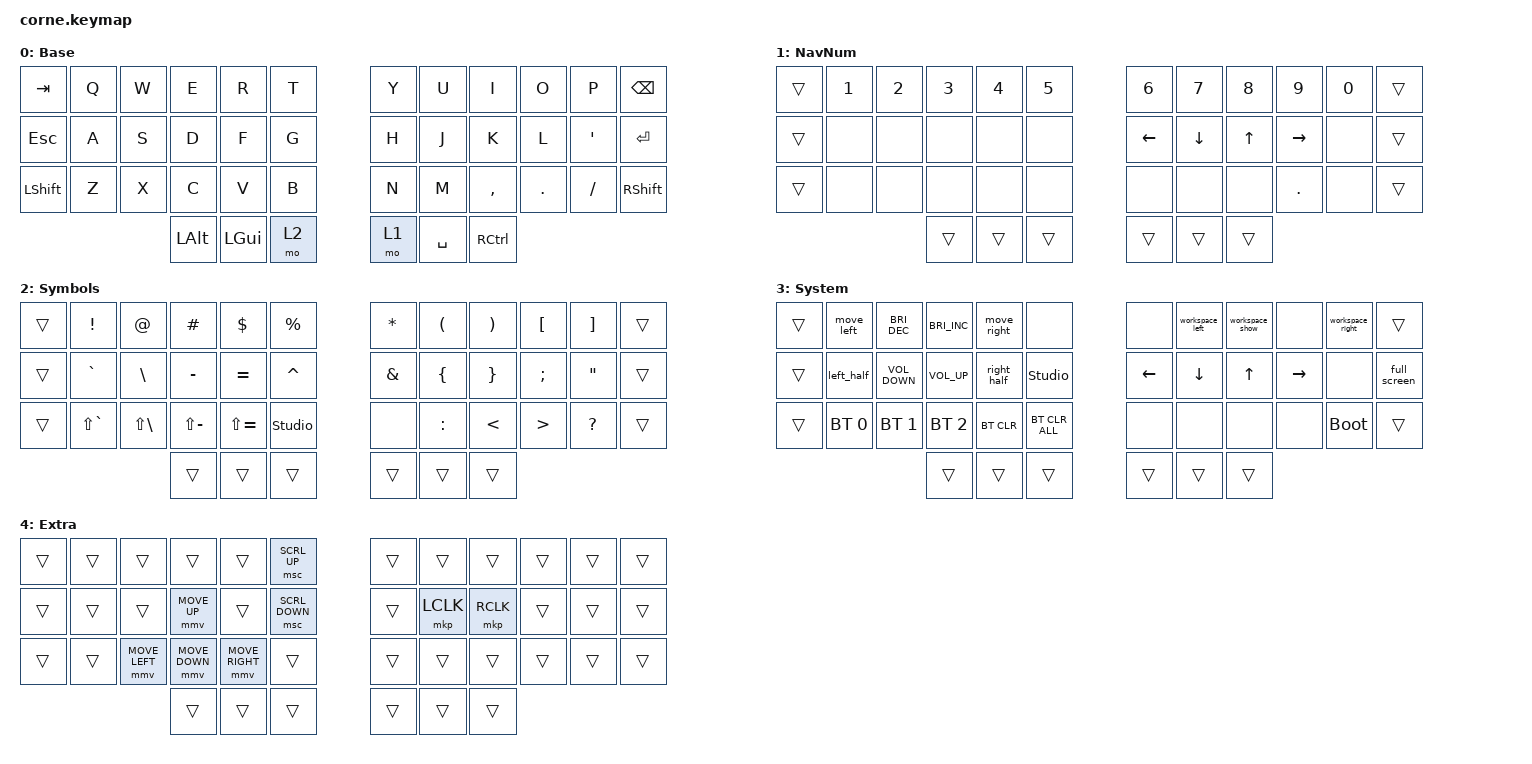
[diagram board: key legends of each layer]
#include <behaviors.dtsi>
#include <dt-bindings/zmk/bt.h>
#include <dt-bindings/zmk/keys.h>
#include <dt-bindings/zmk/pointing.h>

#define DEF 0
#define NAV 1
#define SYM 2
#define ADJ 3
#define EXTRA 4

/ {
    behaviors {
        hm: homerow_mods {
            compatible = "zmk,behavior-hold-tap";
            #binding-cells = <2>;
            tapping-term-ms = <200>;
            flavor = "tap-preferred";
            bindings = <&kp>, <&kp>;

            quick-tap-ms = <180>;
            require-prior-idle-ms = <120>; /* tune to taste */
        };

        para: para {
            compatible = "zmk,behavior-tap-dance";
            #binding-cells = <0>;
            bindings = <&kp LEFT_PARENTHESIS>, <&kp RIGHT_PARENTHESIS>;
        };

        caps: caps {
            compatible = "zmk,behavior-caps-word";
            #binding-cells = <0>;
            continue-list = <MINUS BACKSPACE>;
        };

        paraless: paraless {
            compatible = "zmk,behavior-mod-morph";
            bindings = <&kp LEFT_PARENTHESIS>, <&kp LESS_THAN>;

            #binding-cells = <0>;
            mods = <(MOD_LSFT)>;
        };

        paragreat: paragreat {
            compatible = "zmk,behavior-mod-morph";
            bindings = <&kp RIGHT_PARENTHESIS>, <&kp GREATER_THAN>;

            #binding-cells = <0>;
            mods = <(MOD_LSFT)>;
        };
    };

    macros {
        full_screen: full_screen {
            compatible = "zmk,behavior-macro";
            #binding-cells = <0>;
            bindings =
                <&macro_press>,
                <&kp LCTRL &kp LEFT_ALT>,
                <&macro_tap>,
                <&kp ENTER>,
                <&macro_release>,
                <&kp LEFT_CONTROL &kp LEFT_ALT>;

            label = "FULL_SCREEN";
        };

        left_half: left_half {
            compatible = "zmk,behavior-macro";
            #binding-cells = <0>;
            bindings =
                <&macro_press>,
                <&kp LCTRL &kp LEFT_ALT>,
                <&macro_tap>,
                <&kp LEFT>,
                <&macro_release>,
                <&kp LEFT_CONTROL &kp LEFT_ALT>;

            label = "LEFT_HALF";
        };

        right_half: right_half {
            compatible = "zmk,behavior-macro";
            #binding-cells = <0>;
            bindings =
                <&macro_press>,
                <&kp LCTRL &kp LEFT_ALT>,
                <&macro_tap>,
                <&kp RIGHT>,
                <&macro_release>,
                <&kp LEFT_CONTROL &kp LEFT_ALT>;

            label = "RIGHT_HALF";
        };

        move_left: move_left {
            compatible = "zmk,behavior-macro";
            #binding-cells = <0>;
            bindings =
                <&macro_press>,
                <&kp LCTRL &kp LEFT_ALT &kp LEFT_GUI>,
                <&macro_tap>,
                <&kp LEFT>,
                <&macro_release>,
                <&kp LEFT_CONTROL &kp LEFT_ALT &kp LGUI>;

            label = "MOVE_LEFT";
        };

        move_right: move_right {
            compatible = "zmk,behavior-macro";
            #binding-cells = <0>;
            bindings =
                <&macro_press>,
                <&kp LCTRL &kp LEFT_ALT &kp LEFT_GUI>,
                <&macro_tap>,
                <&kp RIGHT>,
                <&macro_release>,
                <&kp LEFT_CONTROL &kp LEFT_ALT &kp LGUI>;

            label = "MOVE_RIGHT";
        };

        workspace_left: workspace_left {
            compatible = "zmk,behavior-macro";
            #binding-cells = <0>;
            bindings =
                <&macro_press>,
                <&kp LCTRL>,
                <&macro_tap>,
                <&kp LEFT>,
                <&macro_release>,
                <&kp LCTRL>;

            label = "WORKSPACE_LEFT";
        };

        workspace_right: workspace_right {
            compatible = "zmk,behavior-macro";
            #binding-cells = <0>;
            bindings =
                <&macro_press>,
                <&kp LCTRL>,
                <&macro_tap>,
                <&kp RIGHT>,
                <&macro_release>,
                <&kp LCTRL>;

            label = "WORKSPACE_RIGHT";
        };

        workspace_show: workspace_show {
            compatible = "zmk,behavior-macro";
            #binding-cells = <0>;
            bindings =
                <&macro_press>,
                <&kp LCTRL>,
                <&macro_tap>,
                <&kp UP_ARROW>,
                <&macro_release>,
                <&kp LCTRL>;

            label = "WORKSPACE_SHOW";
        };
    };

    combos { compatible = "zmk,combos"; };

    //

    keymap {
        compatible = "zmk,keymap";

        DEF {
            display-name = "Base";

            // -----------------------------------------------------------------------------------------
            // |  Q  |  W  |  E  |  R  |  T  |   |  Y  |  U   |  I  |  O  |  P  |
            // |  A  |  S  |  D  |  F  |  G  |   |  H  |  J   |  K  |  L  |  ;  |
            // |  Z  |  X  |  C  |  V  |  B  |   |  N  |  M   |  ,  |  .  |  /  |
            // | GUI | CTRL | SHFT | LWR | SPC |   | ENT | RSE  | BKSP | ALT | ESC |

            bindings = <
&kp TAB         &kp Q  &kp W  &kp E         &kp R         &kp T    &kp Y  &kp U      &kp I      &kp O    &kp P     &kp BACKSPACE
&kp ESCAPE      &kp A  &kp S  &kp D         &kp F         &kp G    &kp H  &kp J      &kp K      &kp L    &kp SQT   &kp ENTER
&kp LEFT_SHIFT  &kp Z  &kp X  &kp C         &kp V         &kp B    &kp N  &kp M      &kp COMMA  &kp DOT  &kp FSLH  &kp RIGHT_SHIFT
                              &kp LEFT_ALT  &kp LEFT_GUI  &mo 2    &mo 1  &kp SPACE  &kp RCTRL
            >;
        };

        NAV {
            display-name = "NavNum";

            // -----------------------------------------------------------------------------------------
            // |  TAB |  1  |  2  |  3  |  4  |  5  |   |  6  |  7  |  8  |  9  |  0  | BKSP |
            // | BTCLR| BT1 | BT2 | BT3 | BT4 | BT5 |   | LFT | DWN |  UP | RGT |     |      |
            // | SHFT |     |     |     |     |     |   |     |     |     |     |     |      |
            // | GUI | CTRL | SHFT | LWR | SPC |   | ENT | RSE  | BKSP | ALT | ESC |

            bindings = <
&trans  &kp NUMBER_1  &kp NUMBER_2  &kp N3  &kp NUMBER_4  &kp NUMBER_5    &kp NUMBER_6  &kp NUMBER_7  &kp NUMBER_8  &kp N9      &kp NUMBER_0  &trans
&trans  &none         &none         &none   &none         &none           &kp LEFT      &kp DOWN      &kp UP_ARROW  &kp RIGHT   &none         &trans
&trans  &none         &none         &none   &none         &none           &none         &none         &none         &kp PERIOD  &none         &trans
                                    &trans  &trans        &trans          &trans        &trans        &trans
            >;
        };

        SYM {
            display-name = "Symbols";

            // -----------------------------------------------------------------------------------------
            // |  TAB |  !  |  @  |  #  |  $  |  %  |   |  ^  |  &  |  *  |  (  |  )  | BKSP |
            // | CTRL |     |     |     |     |     |   |  -  |  =  |  [  |  ]  |  \  |  `   |
            // | SHFT |     |     |     |     |     |   |  _  |  +  |  {  |  }  | "|" |  ~   |
            //                    | GUI |     | SPC |   | ENT |     | ALT |

            bindings = <
&trans  &kp EXCL       &kp AT             &kp HASH       &kp DLLR       &kp PRCNT         &kp ASTERISK   &kp LEFT_PARENTHESIS  &kp RIGHT_PARENTHESIS  &kp LEFT_BRACKET  &kp RIGHT_BRACKET  &trans
&trans  &kp GRAVE      &kp BACKSLASH      &kp MINUS      &kp EQUAL      &kp CARET         &kp AMPERSAND  &kp LEFT_BRACE        &kp RIGHT_BRACE        &kp SEMI          &kp DOUBLE_QUOTES  &trans
&trans  &kp LS(GRAVE)  &kp LS(BACKSLASH)  &kp LS(MINUS)  &kp LS(EQUAL)  &studio_unlock    &none          &kp COLON             &kp LESS_THAN          &kp GREATER_THAN  &kp QUESTION       &trans
                                          &trans         &trans         &trans            &trans         &trans                &trans
            >;
        };

        ADJ {
            display-name = "System";
            bindings = <
&trans  &move_left    &kp C_BRIGHTNESS_DEC  &kp C_BRIGHTNESS_INC  &move_right  &none             &none     &workspace_left  &workspace_show  &none      &workspace_right  &trans
&trans  &left_half    &kp C_VOLUME_DOWN     &kp C_VOLUME_UP       &right_half  &studio_unlock    &kp LEFT  &kp DOWN         &kp UP_ARROW     &kp RIGHT  &none             &full_screen
&trans  &bt BT_SEL 0  &bt BT_SEL 1          &bt BT_SEL 2          &bt BT_CLR   &bt BT_CLR_ALL    &none     &none            &none            &none      &bootloader       &trans
                                            &trans                &trans       &trans            &trans    &trans           &trans
            >;
        };

        EXTRA {
            display-name = "Extra";
            bindings = <
&trans  &trans  &trans          &trans          &trans           &msc SCRL_UP      &trans  &trans     &trans     &trans  &trans  &trans
&trans  &trans  &trans          &mmv MOVE_UP    &trans           &msc SCRL_DOWN    &trans  &mkp LCLK  &mkp RCLK  &trans  &trans  &trans
&trans  &trans  &mmv MOVE_LEFT  &mmv MOVE_DOWN  &mmv MOVE_RIGHT  &trans            &trans  &trans     &trans     &trans  &trans  &trans
                                &trans          &trans           &trans            &trans  &trans     &trans
            >;
        };
    };

    conditional_layers {
        compatible = "zmk,conditional-layers";

        sys {
            if-layers = <1 2>;
            then-layer = <3>;
        };
    };
};
